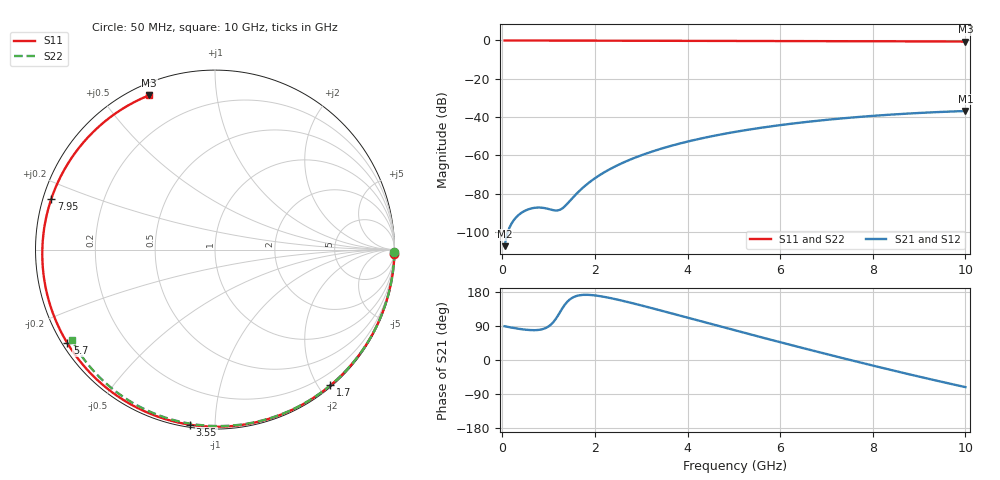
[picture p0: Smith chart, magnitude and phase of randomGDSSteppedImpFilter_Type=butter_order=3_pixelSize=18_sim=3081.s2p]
! freq	dB(S11)	phase(S11)	dB(S12)	phase(S12)
!  dB(S21)	phase(S21)	dB(S22)	phase(S22)
!S-par simulation data
#  GHz  S  DB  R 50
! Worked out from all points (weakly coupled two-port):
!   200 points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, 50 MHz to 10 GHz, reference 50 ohm
!   highest |S21| = -36.83 dB at 10 GHz (marker M1); lowest = -107.4 dB at 50 MHz (marker M2)
!   lowest |S11| = -0.6 dB at 10 GHz (marker M3), VSWR 29.69, Z = 2.42 + j33 ohm
!   |S11| at or under -10 dB: nowhere
!   |S22| runs from -0.5 to 0.0 dB; largest |S21 - S12| = 0
!   S11 on the Smith chart (normalised r, x): 50 MHz: 0, -76; 1.7 GHz: 0.02, -2.16; 3.55 GHz: 0.01, -0.87; 5.7 GHz: 0.01, -0.29; 7.95 GHz: 0.02, +0.15; 10 GHz: 0.05, +0.66
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0.05  -0.00 -1.5  -107.40 89.0  -107.40 89.0  -0.00 -0.9
0.4  -0.02 -11.9  -90.20 81.5  -90.20 81.5  -0.01 -6.8
0.8  -0.03 -23.8  -87.24 79.7  -87.24 79.7  -0.02 -13.6
1.2  -0.05 -35.4  -88.73 116.8  -88.73 116.8  -0.03 -20.4
1.6  -0.06 -46.8  -80.10 168.8  -80.10 168.8  -0.03 -27.1
1.7  -0.06 -49.6  -77.74 171.3  -77.74 171.3  -0.04 -28.8
1.75  -0.06 -51.0  -76.65 171.9  -76.65 171.9  -0.04 -29.6
2.05  -0.07 -59.3  -71.13 169.6  -71.13 169.6  -0.04 -34.5
2.45  -0.09 -70.1  -65.61 160.4  -65.61 160.4  -0.05 -41.1
2.9  -0.10 -81.8  -60.87 147.2  -60.87 147.2  -0.06 -48.3
3.4  -0.12 -94.4  -56.74 131.4  -56.74 131.4  -0.07 -56.2
3.55  -0.13 -98.1  -55.66 126.5  -55.66 126.5  -0.08 -58.5
4.25  -0.15 -114.9  -51.40 103.6  -51.40 103.6  -0.10 -69.2
5.05  -0.19 -133.2  -47.64 77.5  -47.64 77.5  -0.12 -81.1
5.7  -0.23 -147.6  -45.19 56.5  -45.19 56.5  -0.15 -90.4
6.2  -0.26 -158.6  -43.59 40.6  -43.59 40.6  -0.17 -97.4
6.7  -0.30 -169.5  -42.20 25.0  -42.20 25.0  -0.20 -104.3
7.35  -0.35 176.2  -40.65 5.0  -40.65 5.0  -0.24 -113.0
7.95  -0.40 162.7  -39.46 -13.2  -39.46 -13.2  -0.29 -121.0
8.35  -0.44 153.5  -38.78 -25.0  -38.78 -25.0  -0.32 -126.2
9.15  -0.51 134.5  -37.67 -48.1  -37.67 -48.1  -0.40 -136.7
10  -0.59 113.1  -36.83 -71.5  -36.83 -71.5  -0.50 -147.8
